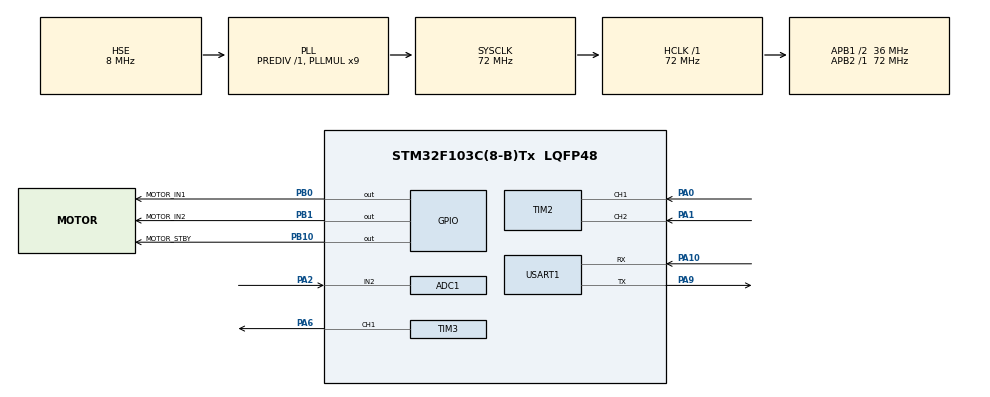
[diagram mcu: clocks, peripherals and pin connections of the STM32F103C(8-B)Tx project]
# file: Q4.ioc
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ADC1.Channel-0\#ChannelRegularConversion=ADC_CHANNEL_2
ADC1.NbrOfConversion=1
ADC1.NbrOfConversionFlag=1
ADC1.Rank-0\#ChannelRegularConversion=1
ADC1.SamplingTime-0\#ChannelRegularConversion=ADC_SAMPLETIME_55CYCLES_5
ADC1.master=1
FREERTOS.Tasks01=defaultTask,24,256,StartDefaultTask,Default,NULL,Dynamic,NULL,NULL
FREERTOS.configTOTAL_HEAP_SIZE=8192
Mcu.Family=STM32F1
Mcu.Name=STM32F103C(8-B)Tx
Mcu.Package=LQFP48
NVIC.PriorityGroup=NVIC_PRIORITYGROUP_4
NVIC.TIM4_IRQn=true\:15\:0\:false\:false\:true\:false\:false\:true\:true
NVIC.TimeBase=TIM4_IRQn
NVIC.TimeBaseIP=TIM4
PA0-WKUP.Signal=S_TIM2_CH1_ETR
PA1.Signal=S_TIM2_CH2
PA10.Mode=Asynchronous
PA10.Signal=USART1_RX
PA13.Mode=Serial_Wire
PA13.Signal=SYS_JTMS-SWDIO
PA14.Mode=Serial_Wire
PA14.Signal=SYS_JTCK-SWCLK
PA2.Signal=ADCx_IN2
PA6.Signal=S_TIM3_CH1
PA9.Mode=Asynchronous
PA9.Signal=USART1_TX
PB0.GPIO_Label=MOTOR_IN1
PB0.Signal=GPIO_Output
PB1.GPIO_Label=MOTOR_IN2
PB1.Signal=GPIO_Output
PB10.GPIO_Label=MOTOR_STBY
PB10.Signal=GPIO_Output
PD0-OSC_IN.Mode=HSE-External-Oscillator
PD0-OSC_IN.Signal=RCC_OSC_IN
PD1-OSC_OUT.Mode=HSE-External-Oscillator
PD1-OSC_OUT.Signal=RCC_OSC_OUT
ProjectManager.HeapSize=0x200
ProjectManager.StackSize=0x400
ProjectManager.TargetToolchain=CMake
RCC.ADCPresc=RCC_ADCPCLK2_DIV6
RCC.AHBFreq_Value=72000000
RCC.APB1CLKDivider=RCC_HCLK_DIV2
RCC.APB1Freq_Value=36000000
RCC.APB1TimFreq_Value=72000000
RCC.APB2Freq_Value=72000000
RCC.APB2TimFreq_Value=72000000
RCC.HCLKFreq_Value=72000000
RCC.PLLMUL=RCC_PLL_MUL9
RCC.PLLSourceVirtual=RCC_PLLSOURCE_HSE
RCC.SYSCLKFreq_VALUE=72000000
RCC.SYSCLKSource=RCC_SYSCLKSOURCE_PLLCLK
RCC.USBFreq_Value=72000000
SH.ADCx_IN2.0=ADC1_IN2,IN2
SH.S_TIM2_CH1_ETR.0=TIM2_CH1,Encoder_Interface
SH.S_TIM2_CH2.0=TIM2_CH2,Encoder_Interface
SH.S_TIM3_CH1.0=TIM3_CH1,PWM Generation1 CH1
TIM2.EncoderMode=TIM_ENCODERMODE_TI12
TIM2.IC1Filter=4
TIM2.IC2Filter=4
TIM3.Channel-PWM\ Generation1\ CH1=TIM_CHANNEL_1
TIM3.Period=3599
USART1.VirtualMode=VM_ASYNC
VP_FREERTOS_VS_CMSIS_V2.Mode=CMSIS_V2
VP_SYS_VS_tim4.Mode=TIM4
board=custom

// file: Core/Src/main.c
/* USER CODE BEGIN Header */
/**
  ******************************************************************************
  * @file           : main.c
  * @brief          : Main program body
  ******************************************************************************
  * @attention
  *
  * Copyright (c) 2026 STMicroelectronics.
  * All rights reserved.
  *
  * This software is licensed under terms that can be found in the LICENSE file
  * in the root directory of this software component.
  * If no LICENSE file comes with this software, it is provided AS-IS.
  *
  ******************************************************************************
  */
/* USER CODE END Header */
#include "main.h"
#include "cmsis_os.h"

/* USER CODE BEGIN PD */
#define ENCODER_CPR        2496.0f
#define CONTROL_DT         0.02f

#define MODE_SPEED         0
#define MODE_POSITION      1

#define SPEED_RPM_MAX      50.0f
#define SPEED_KP           131.0f
#define SPEED_KI           124.0f
#define SPEED_KD           0.06f
#define SPEED_PWM_MAX      3599.0f
#define SPEED_START_PWM    900.0f

#define POSITION_MAX_DEG   180.0f
#define ENCODER_DIR        1
#define POS_KP             12.0f
#define POS_KI             0.5f
#define POS_KD             0.22f
#define POS_PWM_MAX        2500.0f
#define POS_PWM_MIN        2100.0f
#define POS_DEADBAND       2.0f
/* USER CODE END PD */

ADC_HandleTypeDef hadc1;

TIM_HandleTypeDef htim2;
TIM_HandleTypeDef htim3;

UART_HandleTypeDef huart1;

/* Definitions for defaultTask */
osThreadId_t defaultTaskHandle;
const osThreadAttr_t defaultTask_attributes = {
  .name = "defaultTask",
  .stack_size = 256 * 4,
  .priority = (osPriority_t) osPriorityNormal,
};
/* USER CODE BEGIN PV */
uint8_t control_mode = MODE_SPEED;

uint16_t adc_value = 0;
uint16_t encoder_last = 0;
int32_t encoder_total = 0;

float target_rpm = 0.0f;
float actual_rpm = 0.0f;

float target_angle = 0.0f;
float actual_angle = 0.0f;

float motor_output = 0.0f;

float speed_integral = 0.0f;
float speed_last_error = 0.0f;

float pos_integral = 0.0f;
float pos_last_error = 0.0f;

uint8_t vofa_divider = 0;
/* USER CODE END PV */

void SystemClock_Config(void);
static void MX_GPIO_Init(void);
static void MX_ADC1_Init(void);
static void MX_TIM2_Init(void);
static void MX_TIM3_Init(void);
static void MX_USART1_UART_Init(void);
void StartDefaultTask(void *argument);

/* USER CODE BEGIN PFP */
static void Motor_SetPWM(uint16_t pwm);
static void Motor_Forward(void);
static void Motor_Reverse(void);
static void Motor_Stop(void);
static void Motor_SetSignedOutput(float output);

static uint16_t ADC_Read(void);
static void Encoder_UpdateSpeed(void);
static void Encoder_UpdatePosition(void);

static void Speed_PID_Reset(void);
static float Speed_PID_Calc(float target, float actual);

static void Position_PID_Reset(void);
static float Position_PID_Calc(float target, float actual);

static void Set_Mode(uint8_t mode);
static void Position_Zero(void);
static void UART_CheckCommand(void);
static void VOFA_Send(void);
/* USER CODE END PFP */

/* USER CODE BEGIN 0 */

static void Motor_SetPWM(uint16_t pwm)
{
  if (pwm > 3599)
  {
    pwm = 3599;
  }

  __HAL_TIM_SET_COMPARE(&htim3, TIM_CHANNEL_1, pwm);
}

static void Motor_Forward(void)
{
  HAL_GPIO_WritePin(MOTOR_IN1_GPIO_Port, MOTOR_IN1_Pin, GPIO_PIN_SET);
  HAL_GPIO_WritePin(MOTOR_STBY_GPIO_Port, MOTOR_STBY_Pin, GPIO_PIN_RESET);
}

static void Motor_Reverse(void)
{
  HAL_GPIO_WritePin(MOTOR_IN1_GPIO_Port, MOTOR_IN1_Pin, GPIO_PIN_RESET);
  HAL_GPIO_WritePin(MOTOR_STBY_GPIO_Port, MOTOR_STBY_Pin, GPIO_PIN_SET);
}

static void Motor_Stop(void)
{
  Motor_SetPWM(0);
  HAL_GPIO_WritePin(MOTOR_IN1_GPIO_Port, MOTOR_IN1_Pin, GPIO_PIN_RESET);
  HAL_GPIO_WritePin(MOTOR_STBY_GPIO_Port, MOTOR_STBY_Pin, GPIO_PIN_RESET);
  motor_output = 0.0f;
}

static void Motor_SetSignedOutput(float output)
{
  float pwm = output;

  if (pwm > POS_PWM_MAX) pwm = POS_PWM_MAX;
  if (pwm < -POS_PWM_MAX) pwm = -POS_PWM_MAX;

  if (pwm > 0.0f)
  {
    Motor_Forward();
    Motor_SetPWM((uint16_t)pwm);
  }
  else if (pwm < 0.0f)
  {
    Motor_Reverse();
    Motor_SetPWM((uint16_t)(-pwm));
  }
  else
  {
    Motor_Stop();
  }

  motor_output = pwm;
}

static uint16_t ADC_Read(void)
{
  uint16_t value = 0;

  HAL_ADC_Start(&hadc1);

  if (HAL_ADC_PollForConversion(&hadc1, 10) == HAL_OK)
  {
    value = (uint16_t)HAL_ADC_GetValue(&hadc1);
  }

  HAL_ADC_Stop(&hadc1);
  return value;
}

static void Encoder_UpdateSpeed(void)
{
  uint16_t now = (uint16_t)__HAL_TIM_GET_COUNTER(&htim2);
  int16_t delta = (int16_t)(now - encoder_last);
  int32_t count = delta;

  encoder_last = now;

  if (count < 0)
  {
    count = -count;
  }

  float rpm = ((float)count * 60.0f) / (ENCODER_CPR * CONTROL_DT);
  actual_rpm = actual_rpm * 0.7f + rpm * 0.3f;
}

static void Encoder_UpdatePosition(void)
{
  uint16_t now = (uint16_t)__HAL_TIM_GET_COUNTER(&htim2);
  int16_t delta = (int16_t)(now - encoder_last);

  encoder_last = now;
  encoder_total += (int32_t)delta * ENCODER_DIR;

  actual_angle = ((float)encoder_total * 360.0f) / ENCODER_CPR;
}

static void Speed_PID_Reset(void)
{
  speed_integral = 0.0f;
  speed_last_error = 0.0f;
}

static float Speed_PID_Calc(float target, float actual)
{
  float error = target - actual;

  speed_integral += error * CONTROL_DT;

  if (speed_integral > 100.0f) speed_integral = 100.0f;
  if (speed_integral < -100.0f) speed_integral = -100.0f;

  float derivative = (error - speed_last_error) / CONTROL_DT;
  speed_last_error = error;

  float output = SPEED_KP * error
               + SPEED_KI * speed_integral
               + SPEED_KD * derivative;

  if (output > SPEED_PWM_MAX) output = SPEED_PWM_MAX;
  if (output < 0.0f) output = 0.0f;

  return output;
}

static void Position_PID_Reset(void)
{
  pos_integral = 0.0f;
  pos_last_error = 0.0f;
}

static float Position_PID_Calc(float target, float actual)
{
  float error = target - actual;

  pos_integral += error * CONTROL_DT;

  if (pos_integral > 300.0f) pos_integral = 300.0f;
  if (pos_integral < -300.0f) pos_integral = -300.0f;

  float derivative = (error - pos_last_error) / CONTROL_DT;
  pos_last_error = error;

  float output = POS_KP * error
               + POS_KI * pos_integral
               + POS_KD * derivative;

  if (output > POS_PWM_MAX) output = POS_PWM_MAX;
  if (output < -POS_PWM_MAX) output = -POS_PWM_MAX;

  return output;
}

static void Position_Zero(void)
{
  Motor_Stop();
  __HAL_TIM_SET_COUNTER(&htim2, 0);

  encoder_last = 0;
  encoder_total = 0;
  actual_angle = 0.0f;

  Position_PID_Reset();
}

static void Set_Mode(uint8_t mode)
{
  Motor_Stop();

  control_mode = mode;
  encoder_last = (uint16_t)__HAL_TIM_GET_COUNTER(&htim2);

  Speed_PID_Reset();
  Position_PID_Reset();

  if (control_mode == MODE_SPEED)
  {
    actual_rpm = 0.0f;
  }
  else
  {
    Position_Zero();
  }
}

static void UART_CheckCommand(void)
{
  uint8_t cmd;

  if (HAL_UART_Receive(&huart1, &cmd, 1, 0) == HAL_OK)
  {
    if ((cmd == 'S') || (cmd == 's'))
    {
      Set_Mode(MODE_SPEED);
    }
    else if ((cmd == 'P') || (cmd == 'p'))
    {
      Set_Mode(MODE_POSITION);
    }
    else if ((cmd == 'Z') || (cmd == 'z'))
    {
      if (control_mode == MODE_POSITION)
      {
        Position_Zero();
      }
    }
  }
}

static void VOFA_Send(void)
{
  float data[3];

  if (control_mode == MODE_SPEED)
  {
    data[0] = target_rpm;
    data[1] = actual_rpm;
    data[2] = motor_output / SPEED_PWM_MAX * 100.0f;
  }
  else
  {
    data[0] = target_angle;
    data[1] = actual_angle;
    data[2] = motor_output / POS_PWM_MAX * 100.0f;
  }

  uint8_t tail[4] = {0x00, 0x00, 0x80, 0x7F};

  HAL_UART_Transmit(&huart1, (uint8_t *)data, sizeof(data), 100);
  HAL_UART_Transmit(&huart1, tail, sizeof(tail), 100);
}

/* USER CODE END 0 */

int main(void)
{

  /* MCU Configuration--------------------------------------------------------*/

  /* Reset of all peripherals, Initializes the Flash interface and the Systick. */
  HAL_Init();

  /* Configure the system clock */
  SystemClock_Config();

  /* Initialize all configured peripherals */
  MX_GPIO_Init();
  MX_ADC1_Init();
  MX_TIM2_Init();
  MX_TIM3_Init();
  MX_USART1_UART_Init();

  /* Init scheduler */
  osKernelInitialize();

  /* Create the thread(s) */
  /* creation of defaultTask */
  defaultTaskHandle = osThreadNew(StartDefaultTask, NULL, &defaultTask_attributes);

  /* Start scheduler */
  osKernelStart();

  /* We should never get here as control is now taken by the scheduler */

  /* Infinite loop */
  while (1)
  {

  }
}

void SystemClock_Config(void)
{
  RCC_OscInitTypeDef RCC_OscInitStruct = {0};
  RCC_ClkInitTypeDef RCC_ClkInitStruct = {0};
  RCC_PeriphCLKInitTypeDef PeriphClkInit = {0};

  /** Initializes the RCC Oscillators according to the specified parameters
  * in the RCC_OscInitTypeDef structure.
  */
  RCC_OscInitStruct.OscillatorType = RCC_OSCILLATORTYPE_HSE;
  RCC_OscInitStruct.HSEState = RCC_HSE_ON;
  RCC_OscInitStruct.HSEPredivValue = RCC_HSE_PREDIV_DIV1;
  RCC_OscInitStruct.HSIState = RCC_HSI_ON;
  RCC_OscInitStruct.PLL.PLLState = RCC_PLL_ON;
  RCC_OscInitStruct.PLL.PLLSource = RCC_PLLSOURCE_HSE;
  RCC_OscInitStruct.PLL.PLLMUL = RCC_PLL_MUL9;
  if (HAL_RCC_OscConfig(&RCC_OscInitStruct) != HAL_OK)
  {
    Error_Handler();
  }

  /** Initializes the CPU, AHB and APB buses clocks
  */
  RCC_ClkInitStruct.ClockType = RCC_CLOCKTYPE_HCLK|RCC_CLOCKTYPE_SYSCLK
                              |RCC_CLOCKTYPE_PCLK1|RCC_CLOCKTYPE_PCLK2;
  RCC_ClkInitStruct.SYSCLKSource = RCC_SYSCLKSOURCE_PLLCLK;
  RCC_ClkInitStruct.AHBCLKDivider = RCC_SYSCLK_DIV1;
  RCC_ClkInitStruct.APB1CLKDivider = RCC_HCLK_DIV2;
  RCC_ClkInitStruct.APB2CLKDivider = RCC_HCLK_DIV1;

  if (HAL_RCC_ClockConfig(&RCC_ClkInitStruct, FLASH_LATENCY_2) != HAL_OK)
  {
    Error_Handler();
  }
  PeriphClkInit.PeriphClockSelection = RCC_PERIPHCLK_ADC;
  PeriphClkInit.AdcClockSelection = RCC_ADCPCLK2_DIV6;
  if (HAL_RCCEx_PeriphCLKConfig(&PeriphClkInit) != HAL_OK)
  {
    Error_Handler();
  }
}

static void MX_ADC1_Init(void)
{

  ADC_ChannelConfTypeDef sConfig = {0};

  /** Common config
  */
  hadc1.Instance = ADC1;
  hadc1.Init.ScanConvMode = ADC_SCAN_DISABLE;
  hadc1.Init.ContinuousConvMode = DISABLE;
  hadc1.Init.DiscontinuousConvMode = DISABLE;
  hadc1.Init.ExternalTrigConv = ADC_SOFTWARE_START;
  hadc1.Init.DataAlign = ADC_DATAALIGN_RIGHT;
  hadc1.Init.NbrOfConversion = 1;
  if (HAL_ADC_Init(&hadc1) != HAL_OK)
  {
    Error_Handler();
  }

  /** Configure Regular Channel
  */
  sConfig.Channel = ADC_CHANNEL_2;
  sConfig.Rank = ADC_REGULAR_RANK_1;
  sConfig.SamplingTime = ADC_SAMPLETIME_55CYCLES_5;
  if (HAL_ADC_ConfigChannel(&hadc1, &sConfig) != HAL_OK)
  {
    Error_Handler();
  }

}

static void MX_TIM2_Init(void)
{

  TIM_Encoder_InitTypeDef sConfig = {0};
  TIM_MasterConfigTypeDef sMasterConfig = {0};

  htim2.Instance = TIM2;
  htim2.Init.Prescaler = 0;
  htim2.Init.CounterMode = TIM_COUNTERMODE_UP;
  htim2.Init.Period = 65535;
  htim2.Init.ClockDivision = TIM_CLOCKDIVISION_DIV1;
  htim2.Init.AutoReloadPreload = TIM_AUTORELOAD_PRELOAD_DISABLE;
  sConfig.EncoderMode = TIM_ENCODERMODE_TI12;
  sConfig.IC1Polarity = TIM_ICPOLARITY_RISING;
  sConfig.IC1Selection = TIM_ICSELECTION_DIRECTTI;
  sConfig.IC1Prescaler = TIM_ICPSC_DIV1;
  sConfig.IC1Filter = 4;
  sConfig.IC2Polarity = TIM_ICPOLARITY_RISING;
  sConfig.IC2Selection = TIM_ICSELECTION_DIRECTTI;
  sConfig.IC2Prescaler = TIM_ICPSC_DIV1;
  sConfig.IC2Filter = 4;
  if (HAL_TIM_Encoder_Init(&htim2, &sConfig) != HAL_OK)
  {
    Error_Handler();
  }
  sMasterConfig.MasterOutputTrigger = TIM_TRGO_RESET;
  sMasterConfig.MasterSlaveMode = TIM_MASTERSLAVEMODE_DISABLE;
  if (HAL_TIMEx_MasterConfigSynchronization(&htim2, &sMasterConfig) != HAL_OK)
  {
    Error_Handler();
  }

}

static void MX_TIM3_Init(void)
{

  TIM_MasterConfigTypeDef sMasterConfig = {0};
  TIM_OC_InitTypeDef sConfigOC = {0};

  htim3.Instance = TIM3;
  htim3.Init.Prescaler = 0;
  htim3.Init.CounterMode = TIM_COUNTERMODE_UP;
  htim3.Init.Period = 3599;
  htim3.Init.ClockDivision = TIM_CLOCKDIVISION_DIV1;
  htim3.Init.AutoReloadPreload = TIM_AUTORELOAD_PRELOAD_DISABLE;
  if (HAL_TIM_PWM_Init(&htim3) != HAL_OK)
  {
    Error_Handler();
  }
  sMasterConfig.MasterOutputTrigger = TIM_TRGO_RESET;
  sMasterConfig.MasterSlaveMode = TIM_MASTERSLAVEMODE_DISABLE;
  if (HAL_TIMEx_MasterConfigSynchronization(&htim3, &sMasterConfig) != HAL_OK)
  {
    Error_Handler();
  }
  sConfigOC.OCMode = TIM_OCMODE_PWM1;
  sConfigOC.Pulse = 0;
  sConfigOC.OCPolarity = TIM_OCPOLARITY_HIGH;
  sConfigOC.OCFastMode = TIM_OCFAST_DISABLE;
  if (HAL_TIM_PWM_ConfigChannel(&htim3, &sConfigOC, TIM_CHANNEL_1) != HAL_OK)
  {
    Error_Handler();
  }
  HAL_TIM_MspPostInit(&htim3);

}

static void MX_USART1_UART_Init(void)
{

  huart1.Instance = USART1;
  huart1.Init.BaudRate = 115200;
  huart1.Init.WordLength = UART_WORDLENGTH_8B;
  huart1.Init.StopBits = UART_STOPBITS_1;
  huart1.Init.Parity = UART_PARITY_NONE;
  huart1.Init.Mode = UART_MODE_TX_RX;
  huart1.Init.HwFlowCtl = UART_HWCONTROL_NONE;
  huart1.Init.OverSampling = UART_OVERSAMPLING_16;
  if (HAL_UART_Init(&huart1) != HAL_OK)
  {
    Error_Handler();
  }

}

static void MX_GPIO_Init(void)
{
  GPIO_InitTypeDef GPIO_InitStruct = {0};

  /* GPIO Ports Clock Enable */
  __HAL_RCC_GPIOD_CLK_ENABLE();
  __HAL_RCC_GPIOA_CLK_ENABLE();
  __HAL_RCC_GPIOB_CLK_ENABLE();

  /*Configure GPIO pin Output Level */
  HAL_GPIO_WritePin(GPIOB, MOTOR_IN1_Pin|MOTOR_IN2_Pin|MOTOR_STBY_Pin, GPIO_PIN_RESET);

  /*Configure GPIO pins : MOTOR_IN1_Pin MOTOR_IN2_Pin MOTOR_STBY_Pin */
  GPIO_InitStruct.Pin = MOTOR_IN1_Pin|MOTOR_IN2_Pin|MOTOR_STBY_Pin;
  GPIO_InitStruct.Mode = GPIO_MODE_OUTPUT_PP;
  GPIO_InitStruct.Pull = GPIO_NOPULL;
  GPIO_InitStruct.Speed = GPIO_SPEED_FREQ_LOW;
  HAL_GPIO_Init(GPIOB, &GPIO_InitStruct);

}

void StartDefaultTask(void *argument)
{
  /* USER CODE BEGIN 5 */

  HAL_ADCEx_Calibration_Start(&hadc1);
  HAL_TIM_PWM_Start(&htim3, TIM_CHANNEL_1);
  HAL_TIM_Encoder_Start(&htim2, TIM_CHANNEL_ALL);

  __HAL_TIM_SET_COUNTER(&htim2, 0);
  encoder_last = 0;
  encoder_total = 0;

  Motor_Stop();
  Speed_PID_Reset();
  Position_PID_Reset();

  for (;;)
  {
    UART_CheckCommand();
    adc_value = ADC_Read();

    if (control_mode == MODE_SPEED)
    {
      Encoder_UpdateSpeed();

      target_rpm = ((float)adc_value * SPEED_RPM_MAX) / 4095.0f;

      if (target_rpm < 3.0f)
      {
        Motor_Stop();
        Speed_PID_Reset();
      }
      else
      {
        motor_output = Speed_PID_Calc(target_rpm, actual_rpm);

        if ((actual_rpm < 2.0f) && (motor_output < SPEED_START_PWM))
        {
          motor_output = SPEED_START_PWM;
        }

        Motor_Forward();
        Motor_SetPWM((uint16_t)motor_output);
      }
    }
    else
    {
      Encoder_UpdatePosition();

      target_angle = ((float)adc_value * POSITION_MAX_DEG) / 4095.0f;

      float error = target_angle - actual_angle;
      float abs_error = error;

      if (abs_error < 0.0f)
      {
        abs_error = -abs_error;
      }

      if (abs_error <= POS_DEADBAND)
      {
        Motor_Stop();
        Position_PID_Reset();
      }
      else
      {
        float output = Position_PID_Calc(target_angle, actual_angle);

        if ((output > 0.0f) && (output < POS_PWM_MIN))
        {
          output = POS_PWM_MIN;
        }
        else if ((output < 0.0f) && (output > -POS_PWM_MIN))
        {
          output = -POS_PWM_MIN;
        }

        Motor_SetSignedOutput(output);
      }
    }

    vofa_divider++;

    if (vofa_divider >= 5)
    {
      vofa_divider = 0;
      VOFA_Send();
    }

    osDelay(20);
  }

  /* USER CODE END 5 */
}

void HAL_TIM_PeriodElapsedCallback(TIM_HandleTypeDef *htim)
{
  if (htim->Instance == TIM4)
  {
    HAL_IncTick();
  }
}

void Error_Handler(void)
{
  __disable_irq();
  while (1)
  {
  }
}
